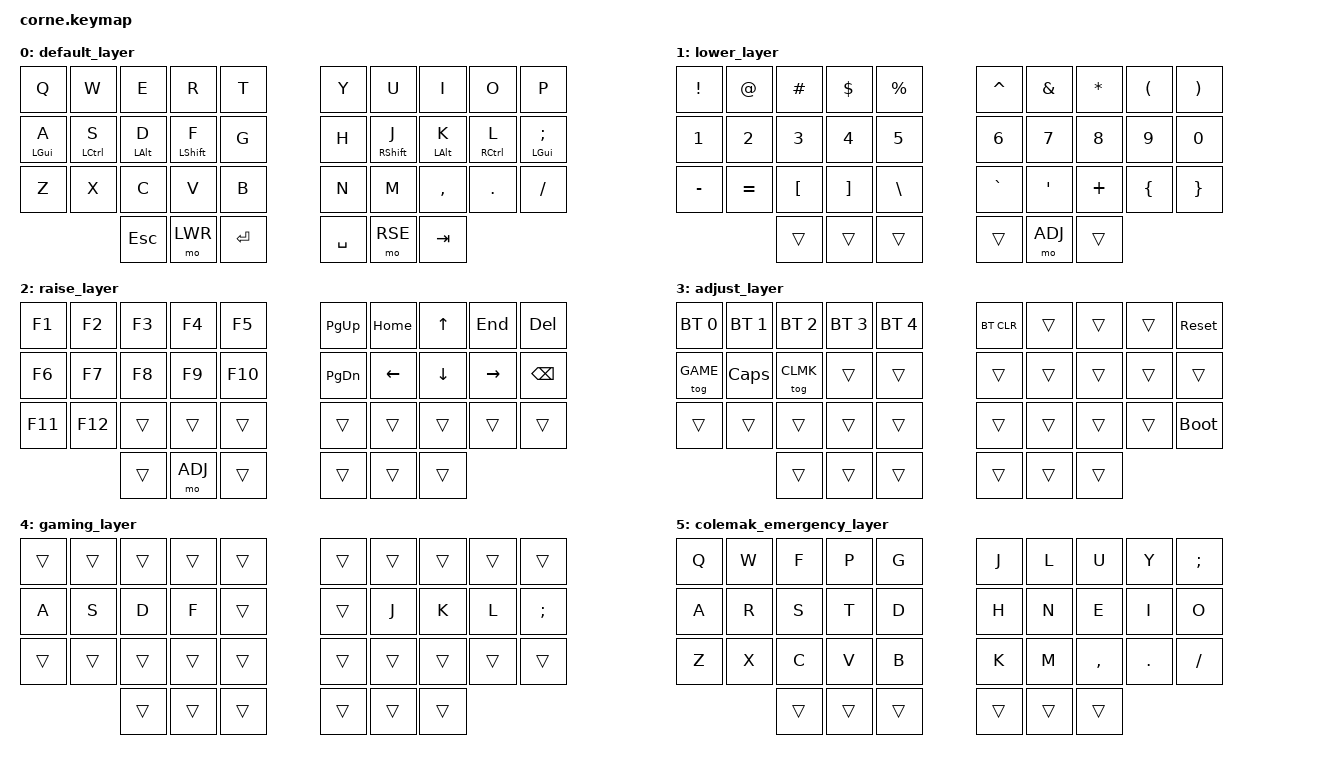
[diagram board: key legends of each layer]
/*
 * Corne (3x5+3) — QWERTY firmware layer (Colemak applied at OS level)
 * GCAS home row mods on physical A S D F / J K L ;
 * Layers: DEF, LWR, RSE, ADJ, GAME, CLMK (emergency Colemak)
 * ADJ reached by holding LWR+RSE from either direction.
 */

#include <behaviors.dtsi>
#include <dt-bindings/zmk/keys.h>
#include <dt-bindings/zmk/bt.h>

#define DEF  0
#define LWR  1
#define RSE  2
#define ADJ  3
#define GAME 4
#define CLMK 5

#define KEYS_L 0 1 2 3 4 10 11 12 13 14 20 21 22 23 24
#define KEYS_R 5 6 7 8 9 15 16 17 18 19 25 26 27 28 29
#define THUMBS 30 31 32 33 34 35

/ {
    chosen {
        zmk,physical-layout = &foostan_corne_5col_layout;
    };

    behaviors {
        hml: homerow_mods_left {
            compatible = "zmk,behavior-hold-tap";
            #binding-cells = <2>;
            tapping-term-ms = <280>;
            quick-tap-ms = <175>;
            flavor = "balanced";
            bindings = <&kp>, <&kp>;
            hold-trigger-key-positions = <KEYS_R THUMBS>;
            hold-trigger-on-release;
        };

        hmr: homerow_mods_right {
            compatible = "zmk,behavior-hold-tap";
            #binding-cells = <2>;
            tapping-term-ms = <280>;
            quick-tap-ms = <175>;
            flavor = "balanced";
            bindings = <&kp>, <&kp>;
            hold-trigger-key-positions = <KEYS_L THUMBS>;
            hold-trigger-on-release;
        };
    };

    conditional_layers {
        compatible = "zmk,conditional-layers";
        tri_layer {
            if-layers = <LWR RSE>;
            then-layer = <ADJ>;
        };
    };

    keymap {
        compatible = "zmk,keymap";

        default_layer {
            bindings = <
&kp Q          &kp W          &kp E          &kp R          &kp T           &kp Y          &kp U          &kp I          &kp O          &kp P
&hml LGUI A    &hml LCTRL S   &hml LALT D    &hml LSHFT F   &kp G           &kp H          &hmr RSHFT J   &hmr LALT K    &hmr RCTRL L   &hmr LGUI SEMI
&kp Z          &kp X          &kp C          &kp V          &kp B           &kp N          &kp M          &kp COMMA      &kp DOT        &kp FSLH
                              &kp ESC        &mo LWR        &kp RET         &kp SPACE      &mo RSE        &kp TAB
            >;
        };

        lower_layer {
            bindings = <
&kp EXCL       &kp AT         &kp HASH       &kp DLLR       &kp PRCNT       &kp CARET      &kp AMPS       &kp ASTRK      &kp LPAR       &kp RPAR
&kp N1         &kp N2         &kp N3         &kp N4         &kp N5          &kp N6         &kp N7         &kp N8         &kp N9         &kp N0
&kp MINUS      &kp EQUAL      &kp LBKT       &kp RBKT       &kp BSLH        &kp GRAVE      &kp SQT        &kp PLUS       &kp LBRC       &kp RBRC
                              &trans         &trans         &trans          &trans         &mo ADJ        &trans
            >;
        };

        raise_layer {
            bindings = <
&kp F1         &kp F2         &kp F3         &kp F4         &kp F5          &kp PG_UP      &kp HOME       &kp UP         &kp END        &kp DEL
&kp F6         &kp F7         &kp F8         &kp F9         &kp F10         &kp PG_DN      &kp LEFT       &kp DOWN       &kp RIGHT      &kp BSPC
&kp F11        &kp F12        &trans         &trans         &trans          &trans         &trans         &trans         &trans         &trans
                              &trans         &mo ADJ        &trans          &trans         &trans         &trans
            >;
        };

        adjust_layer {
            bindings = <
&bt BT_SEL 0   &bt BT_SEL 1   &bt BT_SEL 2   &bt BT_SEL 3   &bt BT_SEL 4    &bt BT_CLR     &trans         &trans         &trans         &sys_reset
&tog GAME      &kp CLCK       &tog CLMK      &trans         &trans          &trans         &trans         &trans         &trans         &trans
&trans         &trans         &trans         &trans         &trans          &trans         &trans         &trans         &trans         &bootloader
                              &trans         &trans         &trans          &trans         &trans         &trans
            >;
        };

        gaming_layer {
            bindings = <
&trans         &trans         &trans         &trans         &trans          &trans         &trans         &trans         &trans         &trans
&kp A          &kp S          &kp D          &kp F          &trans          &trans         &kp J          &kp K          &kp L          &kp SEMI
&trans         &trans         &trans         &trans         &trans          &trans         &trans         &trans         &trans         &trans
                              &trans         &trans         &trans          &trans         &trans         &trans
            >;
        };

        colemak_emergency_layer {
            bindings = <
&kp Q          &kp W          &kp F          &kp P          &kp G           &kp J          &kp L          &kp U          &kp Y          &kp SEMI
&kp A          &kp R          &kp S          &kp T          &kp D           &kp H          &kp N          &kp E          &kp I          &kp O
&kp Z          &kp X          &kp C          &kp V          &kp B           &kp K          &kp M          &kp COMMA      &kp DOT        &kp FSLH
                              &trans         &trans         &trans          &trans         &trans         &trans
            >;
        };
    };
};
